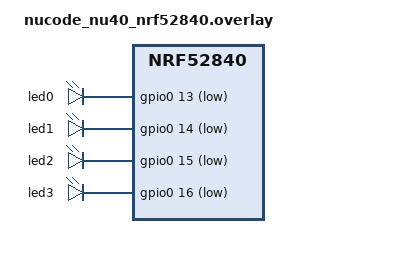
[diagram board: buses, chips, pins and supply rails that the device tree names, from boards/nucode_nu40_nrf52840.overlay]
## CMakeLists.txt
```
cmake_minimum_required(VERSION 3.20.0)
find_package(Zephyr REQUIRED HINTS $ENV{ZEPHYR_BASE})
project(nuwallet)

# 암호 스택은 Arduino 스케치(../nuwallet)와 공유한다. 한 곳에만 둔다.
set(SHARED ${CMAKE_CURRENT_SOURCE_DIR}/../nuwallet/src)

target_sources(app PRIVATE
    src/main.c


    # 코어는 Arduino 스케치와 공유한다 (Arduino 는 스케치 폴더 밖을 컴파일하지
    # 못해서 코어가 그쪽에 있어야 한다). 두 포트가 같은 파일을 컴파일한다.
    ${SHARED}/core/framing.c
    ${SHARED}/core/rlp.c
    ${SHARED}/core/store.c
    ${SHARED}/core/wire.c
    ${SHARED}/core/session.c
    ${SHARED}/core/challenge.c
    ${SHARED}/core/commands.c
    ${SHARED}/core/cmd_setup.c
    ${SHARED}/core/cmd_ethereum.c
    ${SHARED}/core/cmd_solana.c
    ${SHARED}/core/wallet.c

    src/port/zephyr/hal_zephyr.c
    src/port/zephyr/ble.c

    ${SHARED}/crypto/sha2.c
    ${SHARED}/crypto/hmac.c
    ${SHARED}/crypto/keccak.c
    ${SHARED}/crypto/bip39.c
    ${SHARED}/crypto/bip32.c
    ${SHARED}/crypto/slip10.c
    ${SHARED}/crypto/ecdsa.c

    ${SHARED}/micro-ecc/uECC.c
)

target_include_directories(app PRIVATE src ${SHARED})

# micro-ecc 는 플랫폼 매크로가 없으면 인라인 어셈블리를 고른다.
# Cortex-M4 에서는 그쪽이 빠르지만, 빌드가 깨지면 아래를 켜서 C 로 떨어뜨린다.
# target_compile_definitions(app PRIVATE uECC_PLATFORM=uECC_arch_other)
```

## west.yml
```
# Zephyr 포트를 빌드할 작업 공간의 매니페스트.
#
# NU-40 보드 정의(nucode_nu40)는 2026-05 에 Zephyr main 에 들어갔고 아직 어느
# 릴리스에도 없다. 그래서 검증한 main 커밋 하나에 고정한다. 올릴 때는 이 값을
# 바꾸고 scripts/build-zephyr.sh 로 다시 빌드해 본다.
#
# 모듈은 빌드에 실제로 필요한 것만 받는다. 전부 받으면 수 GB 다.
# 쓰는 법은 docs/nu40-dk-firmware-installation.md 의 "Zephyr 로 빌드하기".
manifest:
  remotes:
    - name: zephyrproject-rtos
      url-base: https://github.com/zephyrproject-rtos
  projects:
    - name: zephyr
      remote: zephyrproject-rtos
      revision: 3e7672a71bd954ca46c38c99d8d8f68a0fb23090
      import:
        name-allowlist:
          - cmsis_6
          - hal_nordic
          - mbedtls
          - tf-psa-crypto
          - segger
  self:
    path: nucode-hw-wallet
```

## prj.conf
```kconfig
# ── BLE ──────────────────────────────────────────────────────────────────
CONFIG_BT=y
CONFIG_BT_PERIPHERAL=y
CONFIG_BT_DEVICE_NAME="NuWallet"
CONFIG_BT_DEVICE_NAME_DYNAMIC=y
CONFIG_BT_DEVICE_NAME_MAX=24
CONFIG_BT_MAX_CONN=1
CONFIG_BT_MAX_PAIRED=4

# 본딩 필수. 페어링 없이 들어온 연결은 특성 권한에서 막힌다 (SECURITY.md §4).
CONFIG_BT_SMP=y
CONFIG_BT_SMP_SC_PAIR_ONLY=y
CONFIG_BT_BONDABLE=y
CONFIG_BT_SETTINGS=y

# 니모닉(최대 49바이트)과 트랜잭션 RLP 를 몇 패킷 안에 보내려면 MTU 를 키운다.
CONFIG_BT_L2CAP_TX_MTU=247
CONFIG_BT_BUF_ACL_RX_SIZE=251
CONFIG_BT_BUF_ACL_TX_SIZE=251
CONFIG_BT_CTLR_DATA_LENGTH_MAX=251
CONFIG_BT_GATT_CLIENT=n

# 응답 하나가 여러 패킷으로 나갈 때 TX 버퍼가 모자라면 bt_gatt_notify 가
# -ENOMEM 을 낸다. ble.c 가 재시도하지만 버퍼 자체를 넉넉히 준다.
CONFIG_BT_BUF_ACL_TX_COUNT=8
CONFIG_BT_L2CAP_TX_BUF_COUNT=8

# BT RX 스레드에서는 조립만 한다 (지갑 코어는 메인 스레드에서 돈다 — ble.c
# 참고). 그래도 SMP 페어링 콜백이 여기서 도므로 기본 1024 보다는 올려 둔다.
CONFIG_BT_RX_STACK_SIZE=2048

# ── 저장 ─────────────────────────────────────────────────────────────────
CONFIG_FLASH=y
CONFIG_FLASH_MAP=y
CONFIG_NVS=y
CONFIG_SETTINGS=y
CONFIG_SETTINGS_NVS=y

# ── 난수 ─────────────────────────────────────────────────────────────────
CONFIG_ENTROPY_GENERATOR=y
CONFIG_HARDWARE_DEVICE_CS_GENERATOR=y

# ── 주변장치 ─────────────────────────────────────────────────────────────
CONFIG_GPIO=y

# ── 크기·스택 ────────────────────────────────────────────────────────────
# PBKDF2-HMAC-SHA512 2048회(BIP-39)와 4096회(레코드 키)를 메인 스택에서 돌린다.
CONFIG_MAIN_STACK_SIZE=8192
CONFIG_SYSTEM_WORKQUEUE_STACK_SIZE=2048
CONFIG_HEAP_MEM_POOL_SIZE=2048

CONFIG_LOG=y
CONFIG_LOG_MODE_DEFERRED=y

# 개인키가 스택에 남는다. 함수를 빠져나갈 때 지우고 있지만, 컴파일러가
# memset 을 지우지 못하게 최적화 수준을 낮춰 둔다.
CONFIG_SPEED_OPTIMIZATIONS=y
```

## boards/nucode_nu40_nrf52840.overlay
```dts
/*
 * NU-40 DK 의 LED 는 LOW 에서 켜진다.
 *
 * 업스트림 보드 정의(boards/nucode/nucode_nu40)는 GPIO_ACTIVE_HIGH 로 적고 있고
 * Adafruit variant.h 도 LED_STATE_ON=1 이다. 그러나 실기기에서 Arduino 포트로
 * 하나씩 켜 보니 LOW 에서 켜졌다 (firmware/nuwallet/config.h 의 NU_LED_INVERT).
 * 같은 보드이므로 여기서도 극성을 뒤집는다. 업스트림이 고쳐지면 이 파일을 지운다.
 */
&led0 { gpios = <&gpio0 13 GPIO_ACTIVE_LOW>; };
&led1 { gpios = <&gpio0 14 GPIO_ACTIVE_LOW>; };
&led2 { gpios = <&gpio0 15 GPIO_ACTIVE_LOW>; };
&led3 { gpios = <&gpio0 16 GPIO_ACTIVE_LOW>; };
```

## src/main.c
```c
/* NuWallet — nRF52840 하드웨어 지갑 펌웨어 (Zephyr).
 *
 * 하는 일은 셋뿐이다.
 *   1. HAL 과 BLE 를 올린다
 *   2. 버튼 입력과 BLE 요청을 코어에 넘긴다
 *   3. 10ms 마다 코어를 틱 시킨다 (타임아웃 · LED · 세션 유휴 · 공장 초기화)
 *
 * 코어는 **오직 이 스레드에서만** 실행된다. 재진입을 가정하지 않기도 하고,
 * BIP-32 파생과 PBKDF2 가 2KB 넘는 스택을 쓰기 때문이기도 하다 (아래
 * CONFIG_MAIN_STACK_SIZE). 버튼은 워크큐에서, BLE 요청은 BT RX 스레드에서
 * 오는데, 둘 다 큐를 거쳐 여기로 모인다. 연결 해제도 마찬가지다 (ble.c).
 *
 * 프로토콜 처리는 전부 코어(firmware/nuwallet/src/core)에 있다. 그쪽은
 * Zephyr 를 모르고, Arduino 스케치와 같은 파일을 컴파일한다.               */
#include <zephyr/kernel.h>
#include <zephyr/logging/log.h>

#include "core/wallet.h"
#include "port/zephyr/hal_zephyr.h"
#include "port/zephyr/ble.h"

LOG_MODULE_REGISTER(nuwallet, LOG_LEVEL_INF);

static nu_hal    hal;
static nu_wallet wallet;
static char      name[24];

/* 버튼은 워크큐 컨텍스트에서 온다. 코어는 재진입을 가정하지 않으므로
 * 메시지 큐로 넘겨 메인 루프 한 곳에서만 만진다. */
K_MSGQ_DEFINE(btn_q, sizeof(uint8_t), 8, 1);

static void on_button(uint8_t idx) {
    k_msgq_put(&btn_q, &idx, K_NO_WAIT);
}

int main(void) {
    if (nu_zephyr_hal_init(&hal)) {
        LOG_ERR("HAL 초기화 실패 — 멈춥니다");
        return 0;
    }
    nu_zephyr_set_button_cb(on_button);

    /* BLE 를 먼저 올려야 hal.send 가 채워진다. 이름도 여기서 정해진다. */
    nu_wallet_init(&wallet, &hal, "NuWallet");
    if (nu_ble_start(&wallet, &hal, name, sizeof name)) {
        LOG_ERR("BLE 시작 실패 — 멈춥니다");
        return 0;
    }
    /* 광고 이름이 정해진 뒤 코어를 다시 초기화해 GET_VERSION 이 같은 이름을
     * 돌려주게 한다. 플래시 레코드도 이때 다시 읽힌다. */
    nu_wallet_init(&wallet, &hal, name);

    LOG_INF("NuWallet 준비됨 (%s)", name);

    for (;;) {
        /* 요청이 오면 즉시 깨고, 없으면 10ms 뒤에 돌아온다. */
        nu_ble_rx_poll(10);

        uint8_t idx;
        while (k_msgq_get(&btn_q, &idx, K_NO_WAIT) == 0) {
            nu_wallet_button(&wallet, idx);
        }
        nu_wallet_tick(&wallet, k_uptime_get_32());
    }
    return 0;
}
```
